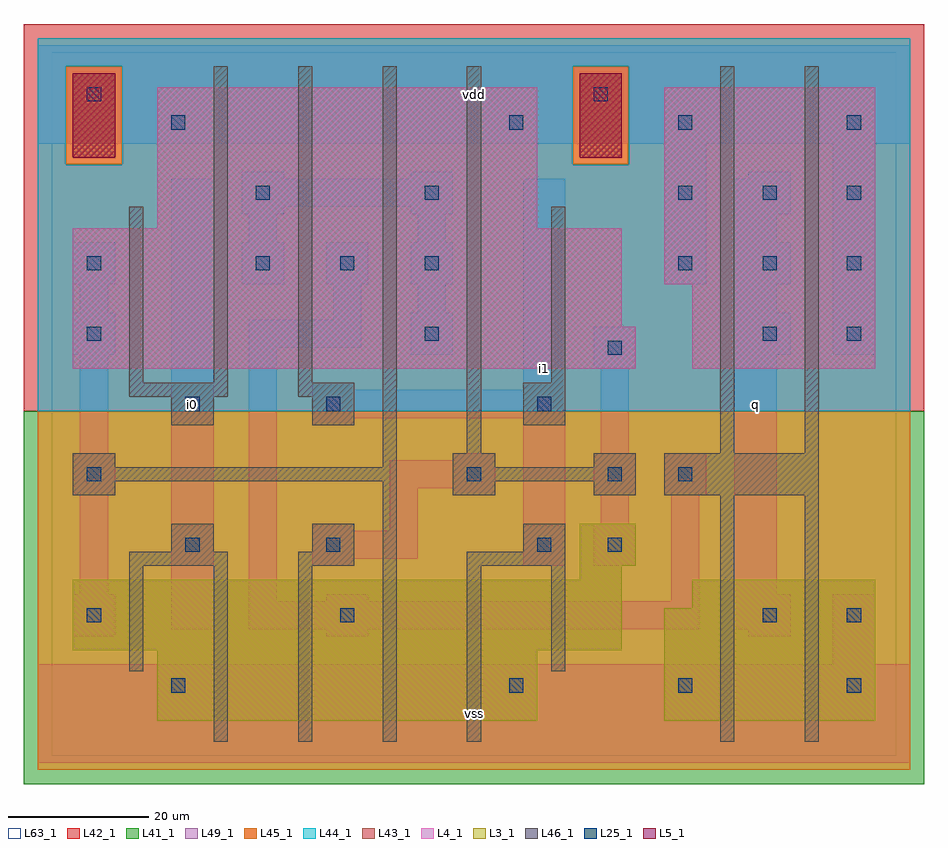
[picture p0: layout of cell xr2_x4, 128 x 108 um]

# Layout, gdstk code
import gdstk
lib = gdstk.Library(unit=1e-6, precision=1e-09)
def R(c, l, rs):  # rectangles x0, y0, x1, y1
    for r in rs: c.add(gdstk.rectangle(r[:2], r[2:], *l))
def A(c, l, x, y, w, h, nx, ny, dx, dy):  # array of equal rectangles
    R(c, l, [(x+i*dx, y+j*dy, x+i*dx+w, y+j*dy+h) for i in range(nx) for j in range(ny)])
L3_1 = (3, 1)
L4_1 = (4, 1)
L5_1 = (5, 1)
L25_1 = (25, 1)
L41_1 = (41, 1)
L42_1 = (42, 1)
L43_1 = (43, 1)
L44_1 = (44, 1)
L45_1 = (45, 1)
L46_1 = (46, 1)
L49_1 = (49, 1)
L63_1 = (63, 1)

xr2_x4 = lib.new_cell('xr2_x4')
R(xr2_x4, L3_1, [(15,5,69,15), (87,5,117,21), (3,15,81,25), (91,21,117,25), (75,25,81,27), (75,27,83,33)])
R(xr2_x4, L4_1, [(3,55,83,61), (91,55,117,67), (3,61,81,75), (87,67,117,95), (15,75,69,95)])
R(xr2_x4, L5_1, [(3,85,9,97), (75,85,81,97)])
A(xr2_x4, L25_1, 65, 9, 2, 2, 3, 2, 24, 80)
A(xr2_x4, L25_1, 5, 59, 2, 2, 3, 1, 48, 0)
A(xr2_x4, L25_1, 29, 69, 2, 2, 3, 1, 12, 0)
A(xr2_x4, L25_1, 89, 69, 2, 2, 3, 2, 12, 10)
R(xr2_x4, L25_1, [(17,9,19,11), (5,19,7,21), (41,19,43,21), (101,19,103,21), (113,19,115,21), (19,29,21,31), (39,29,41,31), (69,29,71,31), (79,29,81,31), (5,39,7,41), (59,39,61,41), (79,39,81,41), (89,39,91,41), (19,49,21,51), (39,49,41,51), (69,49,71,51), (79,57,81,59), (113,59,115,61), (5,69,7,71), (29,79,31,81), (53,79,55,81), (17,89,19,91), (5,93,7,95), (77,93,79,95)])
R(xr2_x4, L41_1, [(-4,-4,124,49)])
R(xr2_x4, L42_1, [(-4,49,124,104)])
R(xr2_x4, L43_1, [(15,5,69,15), (87,5,117,21), (3,15,81,25), (91,21,117,25), (75,25,81,27), (75,27,83,33), (3,55,83,61), (91,55,117,67), (3,61,81,75), (87,67,117,95), (15,75,69,95), (3,85,9,97), (75,85,81,97)])
R(xr2_x4, L44_1, [(-2,49,122,84), (-2,84,2,98), (10,84,74,98), (82,84,122,98), (-2,98,122,102)])
R(xr2_x4, L45_1, [(-2,-2,122,49), (2,84,10,98), (74,84,82,98)])
R(xr2_x4, L46_1, [(23,2,25,27), (35,2,37,27), (47,2,49,39), (59,2,61,27), (95,2,97,37), (107,2,109,37), (11,12,13,27), (71,12,73,27), (11,27,25,29), (35,27,43,29), (59,27,73,29), (17,29,23,33), (37,29,43,33), (67,29,73,33), (3,37,9,39), (57,37,63,39), (77,37,83,39), (87,37,109,43), (3,39,49,41), (57,39,83,41), (3,41,9,43), (47,41,49,98), (57,41,63,43), (77,41,83,43), (59,43,61,98), (95,43,97,98), (107,43,109,98), (17,47,23,51), (37,47,43,51), (67,47,73,53), (11,51,25,53), (35,51,43,53), (11,53,13,78), (23,53,25,98), (35,53,37,98), (71,53,73,78)])
A(xr2_x4, L49_1, 3, 17, 6, 6, 1, 3, 0, 20)
A(xr2_x4, L49_1, 27, 67, 6, 6, 3, 1, 12, 0)
R(xr2_x4, L49_1, [(-2,-1,122,13), (111,13,117,23), (39,17,45,18), (99,17,105,18), (17,18,23,82), (28,18,92,22), (97,18,105,23), (28,22,32,58), (39,22,45,23), (88,22,92,37), (4,23,8,37), (97,23,103,57), (37,27,43,28), (67,27,73,48), (77,27,83,33), (37,28,52,32), (37,32,43,33), (48,32,52,38), (78,33,82,37), (57,37,63,38), (77,37,83,43), (87,37,93,43), (48,38,63,42), (57,42,63,43), (4,43,8,57), (78,43,82,55), (37,47,43,48), (37,48,73,52), (37,52,43,53), (67,52,73,82), (77,55,83,61), (51,57,57,63), (97,57,105,63), (111,57,117,87), (28,58,44,62), (40,62,44,67), (4,63,8,67), (52,63,56,67), (97,63,103,67), (3,67,9,73), (87,67,93,87), (97,67,105,73), (28,73,32,77), (52,73,56,77), (97,73,103,77), (27,77,33,78), (51,77,57,78), (97,77,105,82), (27,78,57,82), (27,82,33,83), (51,82,57,83), (99,82,105,83), (-2,87,122,101)])
R(xr2_x4, L63_1, [(0,0,120,100)])
xr2_x4.add(gdstk.Label('i0', (20,50), layer=49, texttype=1))
xr2_x4.add(gdstk.Label('i0', (20,50), layer=49, texttype=1))
xr2_x4.add(gdstk.Label('vss', (60,6), layer=49, texttype=1))
xr2_x4.add(gdstk.Label('vss', (60,6), layer=49, texttype=1))
xr2_x4.add(gdstk.Label('i1', (70,55), layer=49, texttype=1))
xr2_x4.add(gdstk.Label('i1', (70,55), layer=49, texttype=1))
xr2_x4.add(gdstk.Label('vdd', (60,94), layer=49, texttype=1))
xr2_x4.add(gdstk.Label('vdd', (60,94), layer=49, texttype=1))
xr2_x4.add(gdstk.Label('q', (100,50), layer=49, texttype=1))
xr2_x4.add(gdstk.Label('q', (100,50), layer=49, texttype=1))

lib.write_gds('xr2_x4.gds')
